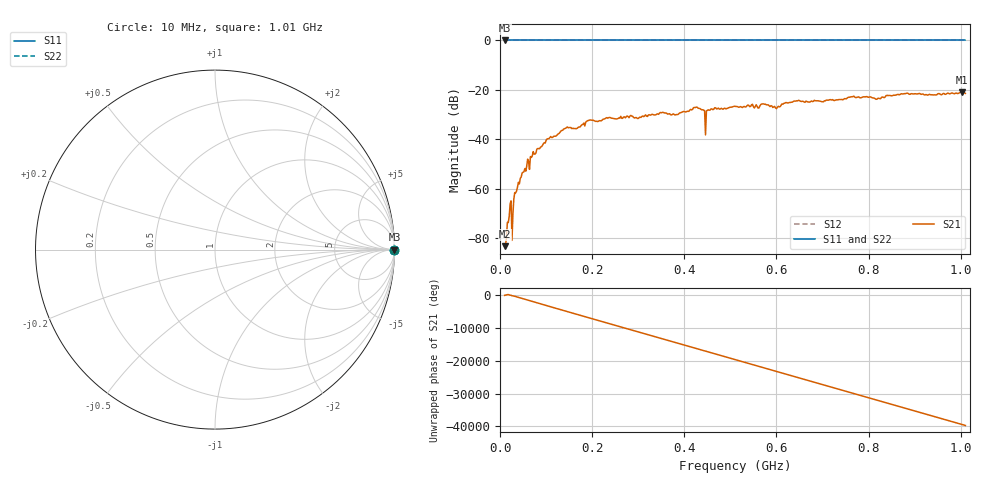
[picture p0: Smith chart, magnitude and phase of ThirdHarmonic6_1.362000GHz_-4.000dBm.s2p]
! 8/16/2025 3:22:55 PM
! C:\ANRITSUVNA\TEMP\TEMP.S2P
! CHANNEL.1
! TR.MEASUREMENT
! RAW.DATA
! RF.CORRECTION.OFF
! AVERAGING.OFF
! IF.BANDWIDTH: 5KHZ
! SWEEPTYPE:  FREQ.SWEEP(Linear)
! Reference Plane Port Info
! PORT:  PORT1  PORT2
! DISTANCE:  0  m  0  m
! TIME:  0  s  0  s
! PHASE.OFFSET:  0  deg.  0  deg.
! LOSS:  0  dB  0  dB
! REF.LOSS:  0  dB  0  dB
! REF.FREQ:  0  Hz  0  Hz
! Power Info
! POWER:  -20  dBm  -20  dBm
! EFF.POWER:  -20  dBm  -20  dBm
! SOURCE.ATTEN:  0  dB  0  dB
! TEST.ATTEN:  0  dB  0  dB
# GHZ S RI R 50.0
! FREQ.GHZ  S11RE  S11IM  S21RE  S21IM  S12RE  S12IM  S22RE  S22IM
!; PortSelection: Port_12
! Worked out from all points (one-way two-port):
!   501 points, 10 MHz to 1.01 GHz, reference 50 ohm
!   highest |S21| = -20.95 dB at 1.002 GHz (marker M1); lowest = -83.1 dB at 10 MHz (marker M2)
!   lowest |S11| = 0.0 dB at 10 MHz (marker M3)
!   |S11| at or under -10 dB: nowhere
!   |S22| runs from 0.0 to 0.0 dB; largest |S21 - S12| = 1.1
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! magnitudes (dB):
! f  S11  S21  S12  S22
! 10 MHz  0.0  -83.1  0.0  0.0
! 16 MHz  0.0  -73.5  0.0  0.0
! 20 MHz  0.0  -71.1  0.0  0.0
! 22 MHz  0.0  -66.0  0.0  0.0
! 30 MHz  0.0  -64.1  0.0  0.0
! 32 MHz  0.0  -61.5  0.0  0.0
! 36 MHz  0.0  -60.8  0.0  0.0
! 70 MHz  0.0  -46.7  0.0  0.0
! 106 MHz  0.0  -39.7  0.0  0.0
! 178 MHz  0.0  -34.1  0.0  0.0
! 194 MHz  0.0  -32.2  0.0  0.0
! 344 MHz  0.0  -29.9  0.0  0.0
! 384 MHz  0.0  -30.0  0.0  0.0
! 424 MHz  0.0  -27.1  0.0  0.0
! 448 MHz  0.0  -28.5  0.0  0.0
! 454 MHz  0.0  -28.2  0.0  0.0
! 510 MHz  0.0  -26.6  0.0  0.0
! 602 MHz  0.0  -27.0  0.0  0.0
! 678 MHz  0.0  -24.7  0.0  0.0
! 844 MHz  0.0  -22.2  0.0  0.0
! 1.002 GHz  0.0  -20.9  0.0  0.0
! 1.01 GHz  0.0  -21.4  0.0  0.0
